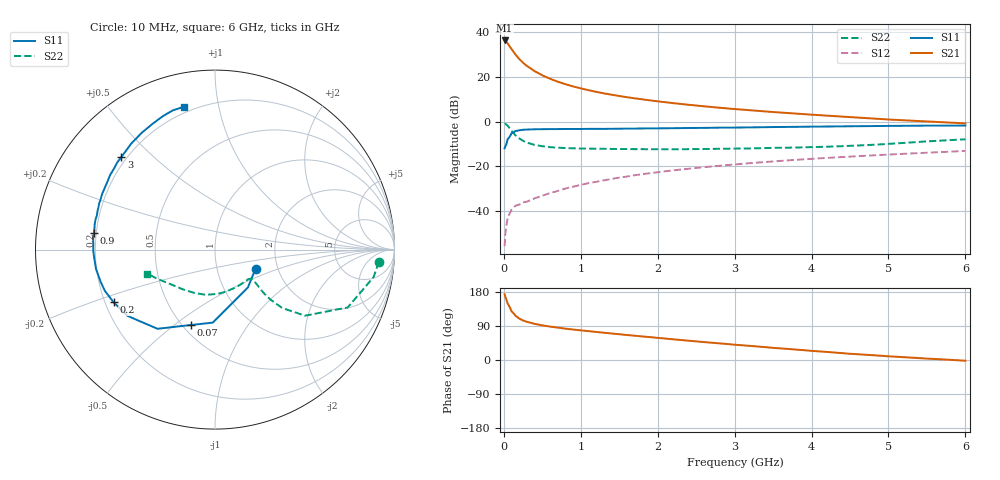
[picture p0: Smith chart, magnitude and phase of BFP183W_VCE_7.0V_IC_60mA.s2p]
! (c) 2017  Infineon Technologies AG, Munich
! Infineon Technologies  Discrete & RF Semiconductors
! BFP183W
! VCE =  7.0 V,  IC =  60 mA
! Common Emitter S-Parameters:  Jan 2017
# GHz  S  MA  R  50
!  f  S11  S21  S12  S22
! GHz  MAG  ANG  MAG  ANG  MAG  ANG  MAG  ANG
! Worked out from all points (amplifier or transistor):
!   77 points, 10 MHz to 6 GHz, reference 50 ohm
!   highest |S21| = 36.4 dB at 10 MHz (marker M1)
!   |S21| within 3 dB of that: start of sweep to 82.53 MHz
!   unconditionally stable (mu >= 1): 518.5 MHz to 3.463 GHz
!   at 130 MHz: K = 0.45, MSG = 34.8 dB, |S12| = -38.5 dB
!   at 2.2 GHz: K = 1.10, MAG = 13.1 dB, |S12| = -21.9 dB
!   at 6 GHz: K = 0.86, MSG = 6.2 dB, |S12| = -13.2 dB
!   S11 on the Smith chart (normalised r, x): 10 MHz: 1.54, -0.35; 70 MHz: 0.55, -0.57; 200 MHz: 0.23, -0.23; 900 MHz: 0.19, +0.06; 3 GHz: 0.18, +0.40; 6 GHz: 0.17, +0.79
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0.01  0.2499 -25.0  66 173.5  0.0016 84.7  0.9155 -4.3
0.02  0.2795 -49.0  64.36 166.4  0.0031 79.3  0.8969 -9.8
0.05  0.4069 -91.7  56.84 148.7  0.0068 66.3  0.8062 -23.6
0.07  0.4418 -107.9  50.35 142.0  0.0082 60.8  0.7285 -27.9
0.1  0.5453 -126.0  42.37 128.5  0.0105 55.4  0.622 -36.3
0.15  0.6112 -142.8  32.13 117.0  0.0129 50.1  0.4949 -41.0
0.2  0.6366 -152.6  25.38 109.5  0.0137 49.8  0.419 -42.0
0.25  0.6551 -159.4  20.88 104.3  0.0154 50.4  0.3699 -41.8
0.3  0.6619 -164.2  17.65 100.7  0.016 51.1  0.3365 -41.1
0.4  0.6718 -170.8  13.5 95.2  0.0189 56.6  0.2991 -39.6
0.5  0.674 -175.7  10.89 91.4  0.0218 59.4  0.2795 -38.7
0.6  0.6782 -179.2  9.138 88.2  0.0248 61.3  0.2666 -38.6
0.7  0.6782 177.8  7.849 85.5  0.0277 64.2  0.2591 -38.7
0.9  0.6807 172.3  6.132 80.4  0.0346 66.7  0.251 -40.7
1.1  0.6851 168.0  5.059 76.2  0.0415 67.9  0.2472 -43.3
1.5  0.6906 160.2  3.74 68.0  0.0552 68.7  0.2419 -50.4
2.1  0.7061 149.3  2.714 56.6  0.0766 67.4  0.2393 -64.1
3  0.7334 135.4  1.908 40.3  0.1092 62.8  0.2474 -88.5
3.1  0.7364 134.0  1.851 38.8  0.1128 62.2  0.2483 -91.2
4.1  0.7714 120.6  1.393 22.7  0.1493 55.5  0.2697 -118.3
5.1  0.8006 110.3  1.09 8.6  0.1852 48.5  0.3235 -145.0
6  0.8143 102.4  0.909 -1.9  0.2187 41.7  0.4001 -160.5
